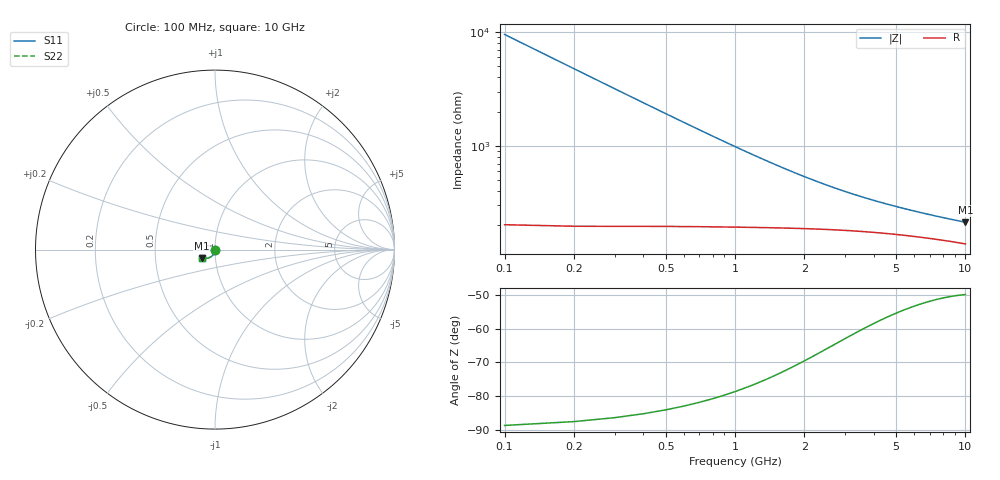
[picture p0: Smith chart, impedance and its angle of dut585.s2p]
! Touchstone file exported from HFSS 2024.1.0
!  File:  C:/UserFiles/LocalFiles/RDL_TSV_Batchsim/temp_TSV1_585_1779709585.aedt
!  Generated:  07:51:08 PM May 25, 2026
!  Design:  TSV1
!  Project:  temp_TSV1_585_1779709585
!  Setup:  Setup1
!  Solution:  Sweep
! Variables:
!  dtsv = 14.26um
!  hbump = 3um
!  htsv = 96.09um
!  lrdl = 252.1521522um
!  p = 40
!  p1 = 40.45um
!  t = 500um
!  trdl = 3um
!  wrdl = 24.89489489um
# GHz S MA R 50.000000
! Terminal data exported
! Port[1] = TSV22_T1
! Port[2] = TSV22_T2
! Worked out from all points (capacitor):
!   100 points, 100 MHz to 10 GHz, reference 50 ohm
!   read as one part in shunt: C = 167 fF near 100 MHz
!   lowest |Z| = 214 ohm at 10 GHz (marker M1)
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0.1  0.002276 -88.9  0.9998 -0.2  0.9998 -0.2  0.002276 -88.9
! Gamma 0 0 0 0
! Port Impedance 50 0 50 0
0.2  0.004554 -91.4  0.9996 -0.3  0.9996 -0.3  0.004554 -91.4
0.3  0.006833 -93.2  0.9993 -0.5  0.9993 -0.5  0.006833 -93.2
0.4  0.009102 -94.8  0.9989 -0.7  0.9989 -0.7  0.009102 -94.8
0.5  0.01135 -96.4  0.9984 -0.8  0.9984 -0.8  0.01135 -96.4
0.6  0.01357 -97.9  0.9978 -1.0  0.9978 -1.0  0.01357 -97.9
0.7  0.01577 -99.4  0.9971 -1.1  0.9971 -1.1  0.01577 -99.4
0.8  0.01792 -100.8  0.9963 -1.3  0.9963 -1.3  0.01792 -100.8
0.9  0.02004 -102.3  0.9954 -1.4  0.9954 -1.4  0.02004 -102.3
1.1  0.02413 -105.0  0.9935 -1.7  0.9935 -1.7  0.02413 -105.0
1.4  0.02991 -108.8  0.9903 -2.1  0.9903 -2.1  0.02991 -108.8
1.6  0.03351 -111.2  0.9879 -2.4  0.9879 -2.4  0.03351 -111.2
1.8  0.03689 -113.4  0.9854 -2.6  0.9854 -2.6  0.03689 -113.4
2.1  0.04158 -116.6  0.9817 -2.9  0.9817 -2.9  0.04158 -116.6
2.5  0.04714 -120.3  0.9767 -3.3  0.9767 -3.3  0.04714 -120.3
2.9  0.052 -123.6  0.9719 -3.6  0.9719 -3.6  0.052 -123.6
3.4  0.05725 -127.1  0.9663 -3.9  0.9663 -3.9  0.05725 -127.1
4.2  0.06413 -131.7  0.9585 -4.3  0.9585 -4.3  0.06413 -131.7
5.1  0.07026 -135.7  0.9511 -4.7  0.9511 -4.7  0.07026 -135.7
6.7  0.07843 -140.8  0.9409 -5.4  0.9409 -5.4  0.07843 -140.8
8.4  0.08474 -144.6  0.9329 -6.0  0.9329 -6.0  0.08474 -144.6
10  0.08927 -147.2  0.9272 -6.5  0.9272 -6.5  0.08927 -147.2
